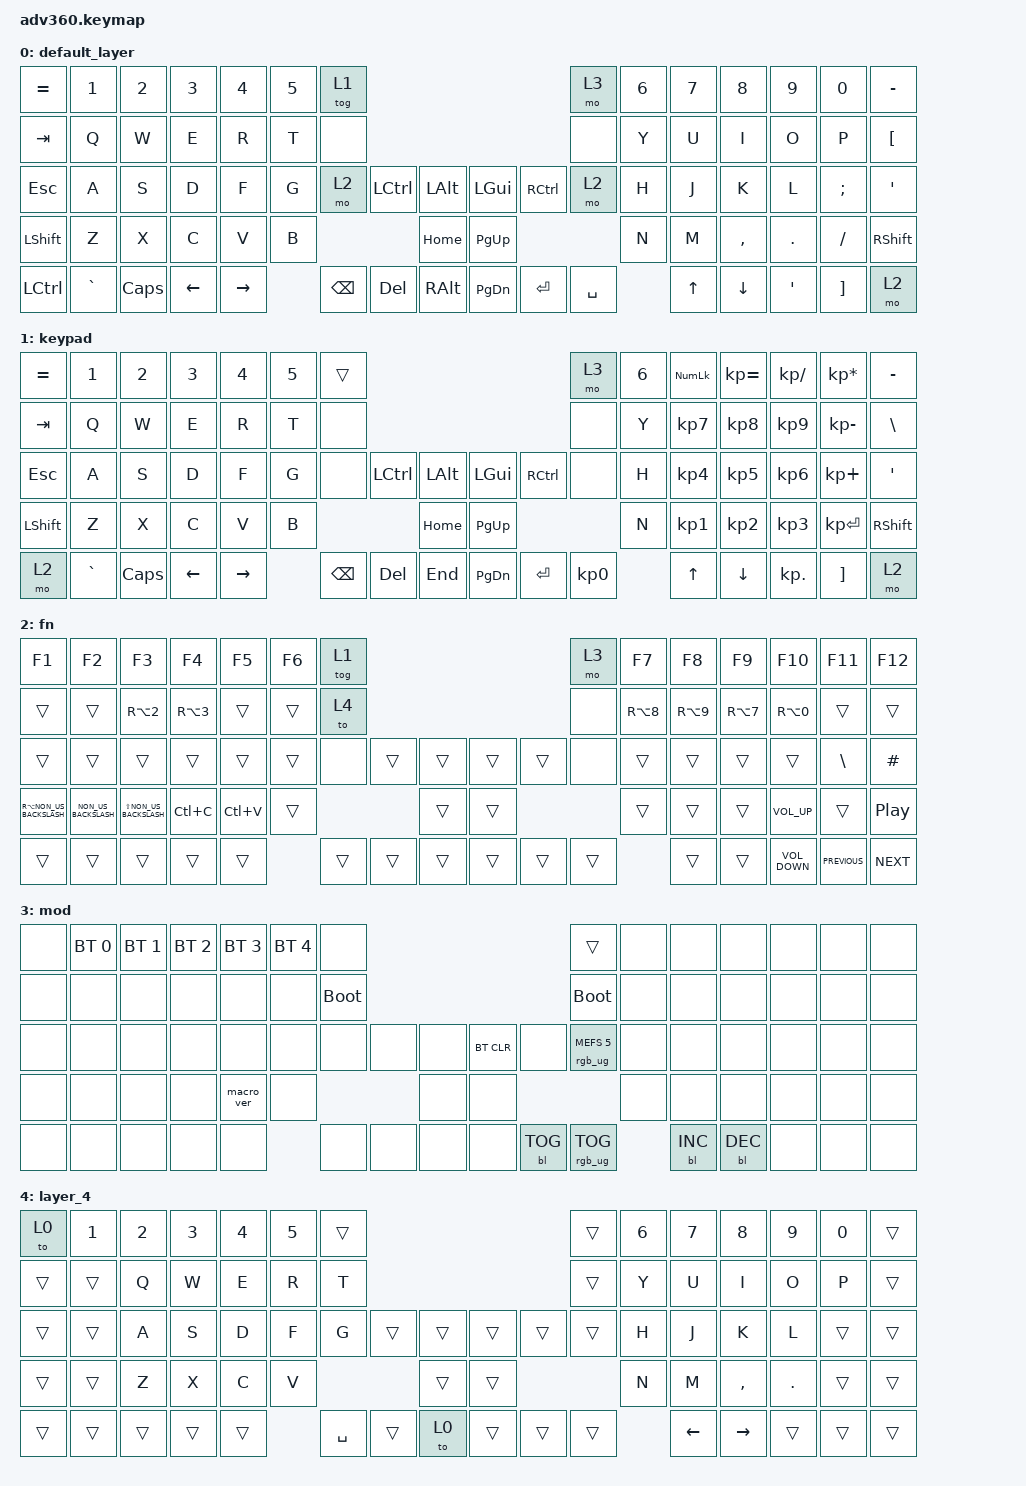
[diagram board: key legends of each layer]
#include <behaviors.dtsi>
#include <dt-bindings/zmk/backlight.h>
#include <dt-bindings/zmk/bt.h>
#include <dt-bindings/zmk/keys.h>
#include <dt-bindings/zmk/rgb.h>

/ {
    behaviors {
        #include "macros.dtsi"
      #include "version.dtsi"
      #ifndef VERSION_MACRO

        macro_ver: macro_ver {
            compatible = "zmk,behavior-macro";
            label = "macro_version";
            #binding-cells = <0>;
            bindings = <&kp RET>;
        };

        CTRL_V: CTRL_V {
            compatible = "zmk,behavior-macro";
            #binding-cells = <0>;
            bindings = <&none>;
            label = "CTRL_V";
        };

        #endif

        hm: homerow_mods {
            compatible = "zmk,behavior-hold-tap";
            label = "HOMEROW_MODS";
            #binding-cells = <2>;
            tapping-term-ms = <200>;
            quick_tap_ms = <175>;
            flavor = "tap-preferred";
            bindings = <&kp>, <&kp>;
        };
    };

    macros {
    };

    keymap {
        compatible = "zmk,keymap";

        default_layer {
            bindings = <
&kp EQUAL  &kp N1     &kp N2    &kp N3    &kp N4     &kp N5  &tog 1                                                   &mo 3      &kp N6  &kp N7  &kp N8     &kp N9   &kp N0    &kp MINUS
&kp TAB    &kp Q      &kp W     &kp E     &kp R      &kp T   &none                                                    &none      &kp Y   &kp U   &kp I      &kp O    &kp P     &kp LEFT_BRACKET
&kp ESC    &kp A      &kp S     &kp D     &kp F      &kp G   &mo 2     &kp LCTRL  &kp LALT      &kp LGUI   &kp RCTRL  &mo 2      &kp H   &kp J   &kp K      &kp L    &kp SEMI  &kp SQT
&kp LSHFT  &kp Z      &kp X     &kp C     &kp V      &kp B                        &kp HOME      &kp PG_UP                        &kp N   &kp M   &kp COMMA  &kp DOT  &kp FSLH  &kp RSHFT
&kp LCTRL  &kp GRAVE  &kp CAPS  &kp LEFT  &kp RIGHT          &kp BSPC  &kp DEL    &kp RALT      &kp PG_DN  &kp ENTER  &kp SPACE          &kp UP  &kp DOWN   &kp SQT  &kp RBKT  &mo 2
            >;
        };

        keypad {
            bindings = <
&kp EQUAL  &kp N1     &kp N2    &kp N3    &kp N4     &kp N5  &trans                                                   &mo 3      &kp N6  &kp KP_NUM  &kp KP_EQUAL  &kp KP_DIVIDE  &kp KP_MULTIPLY  &kp MINUS
&kp TAB    &kp Q      &kp W     &kp E     &kp R      &kp T   &none                                                    &none      &kp Y   &kp KP_N7   &kp KP_N8     &kp KP_N9      &kp KP_MINUS     &kp BSLH
&kp ESC    &kp A      &kp S     &kp D     &kp F      &kp G   &none     &kp LCTRL  &kp LALT      &kp LGUI   &kp RCTRL  &none      &kp H   &kp KP_N4   &kp KP_N5     &kp KP_N6      &kp KP_PLUS      &kp SQT
&kp LSHFT  &kp Z      &kp X     &kp C     &kp V      &kp B                        &kp HOME      &kp PG_UP                        &kp N   &kp KP_N1   &kp KP_N2     &kp KP_N3      &kp KP_ENTER     &kp RSHFT
&mo 2      &kp GRAVE  &kp CAPS  &kp LEFT  &kp RIGHT          &kp BSPC  &kp DEL    &kp END       &kp PG_DN  &kp ENTER  &kp KP_N0          &kp UP      &kp DOWN      &kp KP_DOT     &kp RBKT         &mo 2
            >;
        };

        fn {
            bindings = <
&kp F1                    &kp F2                &kp F3                    &kp F4            &kp F5     &kp F6  &tog 1                                      &mo 3   &kp F7            &kp F8            &kp F9            &kp F10            &kp F11         &kp F12
&trans                    &trans                &kp RA(NUMBER_2)          &kp RA(NUMBER_3)  &trans     &trans  &to 4                                       &none   &kp RA(NUMBER_8)  &kp RA(NUMBER_9)  &kp RA(NUMBER_7)  &kp RA(N0)         &trans          &trans
&trans                    &trans                &trans                    &trans            &trans     &trans  &none   &trans  &trans      &trans  &trans  &none   &trans            &trans            &trans            &trans             &kp BSLH        &kp HASH
&kp RA(NON_US_BACKSLASH)  &kp NON_US_BACKSLASH  &kp LS(NON_US_BACKSLASH)  &kp LC(C)         &kp LC(V)  &trans                  &trans      &trans                  &trans            &trans            &trans            &kp C_VOLUME_UP    &trans          &kp C_PLAY_PAUSE
&trans                    &trans                &trans                    &trans            &trans             &trans  &trans  &trans      &trans  &trans  &trans                    &trans            &trans            &kp C_VOLUME_DOWN  &kp C_PREVIOUS  &kp C_NEXT
            >;
        };

        mod {
            bindings = <
&none  &bt BT_SEL 0  &bt BT_SEL 1  &bt BT_SEL 2  &bt BT_SEL 3  &bt BT_SEL 4  &none                                                  &trans                  &none  &none       &none       &none  &none  &none
&none  &none         &none         &none         &none         &none         &bootloader                                            &bootloader             &none  &none       &none       &none  &none  &none
&none  &none         &none         &none         &none         &none         &none        &none  &none      &bt BT_CLR  &none       &rgb_ug RGB_MEFS_CMD 5  &none  &none       &none       &none  &none  &none
&none  &none         &none         &none         &macro_ver    &none                             &none      &none                                           &none  &none       &none       &none  &none  &none
&none  &none         &none         &none         &none                       &none        &none  &none      &none       &bl BL_TOG  &rgb_ug RGB_TOG                &bl BL_INC  &bl BL_DEC  &none  &none  &none
            >;
        };

        layer_4 {
            bindings = <
&to 0   &kp N1  &kp N2  &kp N3  &kp N4  &kp N5  &trans                                         &trans  &kp N6  &kp N7    &kp N8     &kp N9   &kp N0  &trans
&trans  &trans  &kp Q   &kp W   &kp E   &kp R   &kp T                                          &trans  &kp Y   &kp U     &kp I      &kp O    &kp P   &trans
&trans  &trans  &kp A   &kp S   &kp D   &kp F   &kp G      &trans  &trans      &trans  &trans  &trans  &kp H   &kp J     &kp K      &kp L    &trans  &trans
&trans  &trans  &kp Z   &kp X   &kp C   &kp V                      &trans      &trans                  &kp N   &kp M     &kp COMMA  &kp DOT  &trans  &trans
&trans  &trans  &trans  &trans  &trans          &kp SPACE  &trans  &to 0       &trans  &trans  &trans          &kp LEFT  &kp RIGHT  &trans   &trans  &trans
            >;
        };
    };
};
